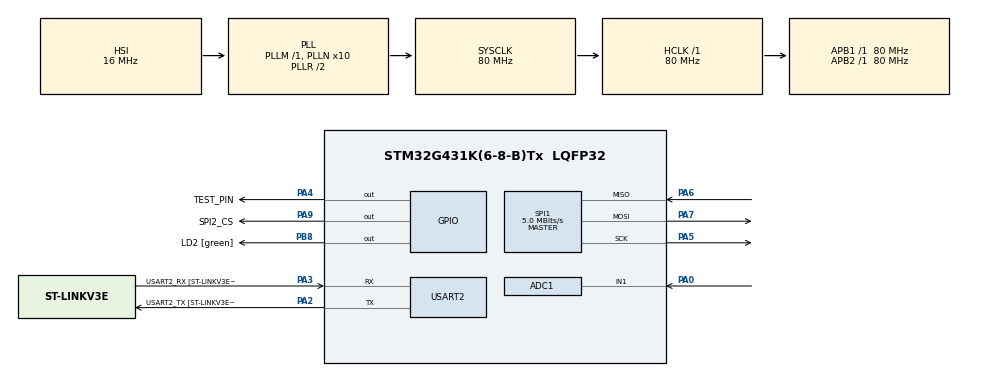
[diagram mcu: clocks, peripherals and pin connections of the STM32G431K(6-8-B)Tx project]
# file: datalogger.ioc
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ADC1.Channel-0\#ChannelRegularConversion=ADC_CHANNEL_1
ADC1.NbrOfConversionFlag=1
ADC1.OffsetNumber-0\#ChannelRegularConversion=ADC_OFFSET_NONE
ADC1.Rank-0\#ChannelRegularConversion=1
ADC1.SamplingTime-0\#ChannelRegularConversion=ADC_SAMPLETIME_2CYCLES_5
ADC1.master=1
Dma.ADC1.0.Direction=DMA_PERIPH_TO_MEMORY
Dma.ADC1.0.EventEnable=DISABLE
Dma.ADC1.0.Instance=DMA1_Channel1
Dma.ADC1.0.MemDataAlignment=DMA_MDATAALIGN_WORD
Dma.ADC1.0.MemInc=DMA_MINC_ENABLE
Dma.ADC1.0.Mode=DMA_CIRCULAR
Dma.ADC1.0.PeriphDataAlignment=DMA_PDATAALIGN_WORD
Dma.ADC1.0.PeriphInc=DMA_PINC_DISABLE
Dma.ADC1.0.Polarity=HAL_DMAMUX_REQ_GEN_RISING
Dma.ADC1.0.Priority=DMA_PRIORITY_MEDIUM
Dma.ADC1.0.RequestNumber=1
Dma.ADC1.0.SignalID=NONE
Dma.ADC1.0.SyncEnable=DISABLE
Dma.ADC1.0.SyncPolarity=HAL_DMAMUX_SYNC_NO_EVENT
Dma.ADC1.0.SyncRequestNumber=1
Dma.ADC1.0.SyncSignalID=NONE
Dma.Request0=ADC1
FATFS._MAX_SS=4096
Mcu.Family=STM32G4
Mcu.Name=STM32G431K(6-8-B)Tx
Mcu.Package=LQFP32
NVIC.DMA1_Channel1_IRQn=true\:0\:0\:false\:false\:true\:false\:true\:true
NVIC.PriorityGroup=NVIC_PRIORITYGROUP_4
NVIC.TIM7_IRQn=true\:0\:0\:false\:false\:true\:true\:true\:true
PA0.Mode=IN1-Single-Ended
PA0.Signal=ADC1_IN1
PA13.GPIO_Label=T_SWDIO
PA13.Mode=Serial_Wire
PA13.Signal=SYS_JTMS-SWDIO
PA14.GPIO_Label=T_SWCLK
PA14.Mode=Serial_Wire
PA14.Signal=SYS_JTCK-SWCLK
PA2.GPIO_Label=USART2_TX [ST-LINKV3E_VCP_RX]
PA2.Mode=Asynchronous
PA2.Signal=USART2_TX
PA3.GPIO_Label=USART2_RX [ST-LINKV3E_VCP_TX]
PA3.Mode=Asynchronous
PA3.Signal=USART2_RX
PA4.GPIO_Label=TEST_PIN
PA4.GPIO_Speed=GPIO_SPEED_FREQ_VERY_HIGH
PA4.Signal=GPIO_Output
PA5.Mode=Full_Duplex_Master
PA5.Signal=SPI1_SCK
PA6.Mode=Full_Duplex_Master
PA6.Signal=SPI1_MISO
PA7.Mode=Full_Duplex_Master
PA7.Signal=SPI1_MOSI
PA9.GPIO_Label=SPI2_CS
PA9.GPIO_Speed=GPIO_SPEED_FREQ_VERY_HIGH
PA9.Signal=GPIO_Output
PB3.GPIO_Label=T_SWO
PB3.Signal=SYS_JTDO-SWO
PB8-BOOT0.GPIO_Label=LD2 [green]
PB8-BOOT0.Signal=GPIO_Output
ProjectManager.HeapSize=0x200
ProjectManager.StackSize=0x400
ProjectManager.TargetToolchain=STM32CubeIDE
RCC.ADC12Freq_Value=80000000
RCC.AHBFreq_Value=80000000
RCC.APB1Freq_Value=80000000
RCC.APB1TimFreq_Value=80000000
RCC.APB2Freq_Value=80000000
RCC.APB2TimFreq_Value=80000000
RCC.CortexFreq_Value=80000000
RCC.EXTERNAL_CLOCK_VALUE=12288000
RCC.HCLKFreq_Value=80000000
RCC.HSE_VALUE=8000000
RCC.HSI48_VALUE=48000000
RCC.HSI_VALUE=16000000
RCC.LSE_VALUE=32768
RCC.PLLN=10
RCC.SYSCLKFreq_VALUE=80000000
RCC.SYSCLKSource=RCC_SYSCLKSOURCE_PLLCLK
RCC.USBFreq_Value=80000000
RCC.VCOOutputFreq_Value=160000000
SPI1.BaudRatePrescaler=SPI_BAUDRATEPRESCALER_16
SPI1.CalculateBaudRate=5.0 MBits/s
SPI1.DataSize=SPI_DATASIZE_8BIT
SPI1.Direction=SPI_DIRECTION_2LINES
SPI1.Mode=SPI_MODE_MASTER
SPI1.VirtualType=VM_MASTER
TIM2.Prescaler=169
TIM7.PeriodNoDither=10000-1
TIM7.Prescaler=8000-1
USART2.VirtualMode-Asynchronous=VM_ASYNC
USART2.WordLength=WORDLENGTH_8B
VP_FATFS_VS_Generic.Mode=User_defined
VP_SYS_VS_DBSignals.Mode=DisableDeadBatterySignals
VP_TIM2_VS_ClockSourceINT.Mode=Internal
VP_TIM7_VS_ClockSourceINT.Mode=Enable_Timer
board=NUCLEO-G431KB

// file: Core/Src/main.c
/* USER CODE BEGIN Header */
/**
  ******************************************************************************
  * @file           : main.c
  * @brief          : Main program body
  ******************************************************************************
  * @attention
  *
  * Copyright (c) 2024 STMicroelectronics.
  * All rights reserved.
  *
  * This software is licensed under terms that can be found in the LICENSE file
  * in the root directory of this software component.
  * If no LICENSE file comes with this software, it is provided AS-IS.
  *
  ******************************************************************************
  */
/* USER CODE END Header */
#include "main.h"
#include "adc.h"
#include "dma.h"
#include "app_fatfs.h"
#include "spi.h"
#include "tim.h"
#include "usart.h"
#include "gpio.h"

/* USER CODE BEGIN Includes */
#include <stdbool.h>
#include <stdio.h>
#include <string.h>
/* USER CODE END Includes */

void SystemClock_Config(void);
/* USER CODE BEGIN PFP */
void process_SD_card(void);
/* USER CODE END PFP */

int main(void)
{

  /* MCU Configuration--------------------------------------------------------*/

  /* Reset of all peripherals, Initializes the Flash interface and the Systick. */
  HAL_Init();

  /* Configure the system clock */
  SystemClock_Config();

  /* Initialize all configured peripherals */
  MX_GPIO_Init();
  MX_DMA_Init();
  MX_ADC1_Init();
  MX_USART2_UART_Init();
  MX_TIM2_Init();
  if (MX_FATFS_Init() != APP_OK) {
    Error_Handler();
  }
  MX_SPI1_Init();
  MX_TIM7_Init();
  /* USER CODE BEGIN 2 */
  SD_Card_Open();
  HAL_ADCEx_Calibration_Start(&hadc1, ADC_SINGLE_ENDED);
  HAL_Delay(200);
  HAL_TIM_Base_Start(&htim2);
  HAL_TIM_Base_Start_IT(&htim7);
  HAL_ADC_Start_DMA(&hadc1, (uint32_t*)&adc_value, 1);
  /* USER CODE END 2 */

  /* Infinite loop */
  /* USER CODE BEGIN WHILE */
  while(Get_ADC_Stop_Flag()== 0)
  {
	 SD_Write_Task();
  }
  SD_Write_Task();
  SD_Card_Close();

    /* USER CODE END WHILE */

}

void SystemClock_Config(void)
{
  RCC_OscInitTypeDef RCC_OscInitStruct = {0};
  RCC_ClkInitTypeDef RCC_ClkInitStruct = {0};

  /** Configure the main internal regulator output voltage
  */
  HAL_PWREx_ControlVoltageScaling(PWR_REGULATOR_VOLTAGE_SCALE1);

  /** Initializes the RCC Oscillators according to the specified parameters
  * in the RCC_OscInitTypeDef structure.
  */
  RCC_OscInitStruct.OscillatorType = RCC_OSCILLATORTYPE_HSI;
  RCC_OscInitStruct.HSIState = RCC_HSI_ON;
  RCC_OscInitStruct.HSICalibrationValue = RCC_HSICALIBRATION_DEFAULT;
  RCC_OscInitStruct.PLL.PLLState = RCC_PLL_ON;
  RCC_OscInitStruct.PLL.PLLSource = RCC_PLLSOURCE_HSI;
  RCC_OscInitStruct.PLL.PLLM = RCC_PLLM_DIV1;
  RCC_OscInitStruct.PLL.PLLN = 10;
  RCC_OscInitStruct.PLL.PLLP = RCC_PLLP_DIV2;
  RCC_OscInitStruct.PLL.PLLQ = RCC_PLLQ_DIV2;
  RCC_OscInitStruct.PLL.PLLR = RCC_PLLR_DIV2;
  if (HAL_RCC_OscConfig(&RCC_OscInitStruct) != HAL_OK)
  {
    Error_Handler();
  }

  /** Initializes the CPU, AHB and APB buses clocks
  */
  RCC_ClkInitStruct.ClockType = RCC_CLOCKTYPE_HCLK|RCC_CLOCKTYPE_SYSCLK
                              |RCC_CLOCKTYPE_PCLK1|RCC_CLOCKTYPE_PCLK2;
  RCC_ClkInitStruct.SYSCLKSource = RCC_SYSCLKSOURCE_PLLCLK;
  RCC_ClkInitStruct.AHBCLKDivider = RCC_SYSCLK_DIV1;
  RCC_ClkInitStruct.APB1CLKDivider = RCC_HCLK_DIV1;
  RCC_ClkInitStruct.APB2CLKDivider = RCC_HCLK_DIV1;

  if (HAL_RCC_ClockConfig(&RCC_ClkInitStruct, FLASH_LATENCY_2) != HAL_OK)
  {
    Error_Handler();
  }
}

/* USER CODE BEGIN 4 */

void process_SD_card( void )
{
  FATFS       FatFs;                //Fatfs handle
  FIL         fil;                  //File handle
  FRESULT     fres;                 //Result after operations
  char        buf[100];

  do
  {
    //Mount the SD Card
    fres = f_mount(&FatFs, "", 1);    //1=mount now
    if (fres != FR_OK)
    {
    	DEBUG_PRINTF("No SD Card found : (%i)\r\n", fres);
      break;
    }
    DEBUG_MESSAGE("SD Card Mounted Successfully!!!\r\n");

    //Read the SD Card Total size and Free Size
    FATFS *pfs;
    DWORD fre_clust;
    uint32_t totalSpace, freeSpace;

    f_getfree("", &fre_clust, &pfs);
    totalSpace = (uint32_t)((pfs->n_fatent - 2) * pfs->csize * 0.5);
    freeSpace = (uint32_t)(fre_clust * pfs->csize * 0.5);

    DEBUG_PRINTF("TotalSpace : %lu bytes, FreeSpace = %lu bytes\n", totalSpace, freeSpace);

    //Open the file
    fres = f_open(&fil, "datalogger.txt", FA_WRITE | FA_READ | FA_CREATE_ALWAYS);
    if(fres != FR_OK)
    {
    	DEBUG_PRINTF("File creation/open Error : (%i)\r\n", fres);
      break;
    }

    DEBUG_MESSAGE("Writing data!!!\r\n");
    //write the data
    f_puts("Welcome to Datalogger Project", &fil);

    //close your file
    f_close(&fil);

    //Open the file
    fres = f_open(&fil, "datalogger.txt", FA_READ);
    if(fres != FR_OK)
    {
    	DEBUG_PRINTF("File opening Error : (%i)\r\n", fres);
      break;
    }

    //read the data
    f_gets(buf, sizeof(buf), &fil);

    DEBUG_PRINTF("Read Data : %s\n", buf);

    //close your file
    f_close(&fil);
    DEBUG_MESSAGE("Closing File!!!\r\n");
#if 0
    //Delete the file.
    fres = f_unlink(datalogger.txt);
    if (fres != FR_OK)
    {
    	DEBUG_MESSAGE("Cannot able to delete the file\n");
    }
#endif
  } while( false );

  //We're done, so de-mount the drive
  f_mount(NULL, "", 0);
  DEBUG_MESSAGE("SD Card Unmounted Successfully!!!\r\n");
}
/* USER CODE END 4 */

void Error_Handler(void)
{
  __disable_irq();
  while (1)
  {
  }
}
